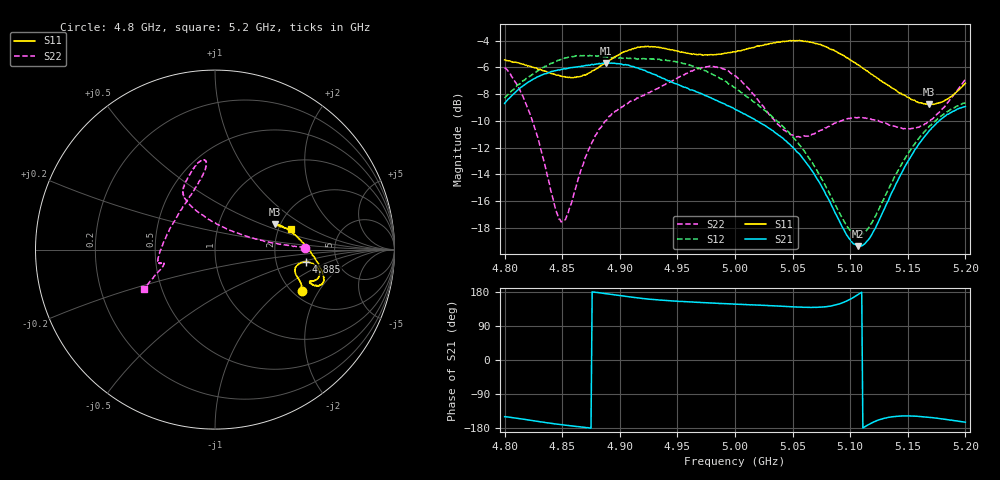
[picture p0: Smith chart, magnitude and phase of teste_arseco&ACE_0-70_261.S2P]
! Network Analyzer HP8722D
! Hewlett-Packard
! Data name: Linha & Wilkinson
! Saver's name: Rodrigo Anjos
! Comments: Teste da utilização de aquisição
! continua pelo VNA HP8722D
! Time and date: 8/5/2025 14:56
!  Frequency  S11  S21  S12  S22
# HZ  S  MA R 50
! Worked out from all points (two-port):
!   401 points, 4.8 GHz to 5.2 GHz, reference 50 ohm
!   highest |S21| = -5.67 dB at 4.888 GHz (marker M1); lowest = -19.4 dB at 5.107 GHz (marker M2)
!   |S21| within 3 dB of the highest: 4.8 GHz to 4.989 GHz (188.4 MHz wide, 3.85 % of centre)
!   lowest |S11| = -8.8 dB at 5.168 GHz (marker M3), VSWR 2.15, Z = 94.1 + j30.5 ohm
!   |S11| at or under -10 dB: nowhere
!   |S22| runs from -17.6 to -5.9 dB; largest |S21 - S12| = 1.1
!   S11 on the Smith chart (normalised r, x): 4.8 GHz: 2.23, -1.43; 4.885 GHz: 2.99, -0.55; 5.2 GHz: 2.34, +0.65
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4.8e9  0.5339 -25.3  0.3673 -149.5  0.3846 9.9  0.4998 1.1
4.812e9  0.5208 -22.3  0.4143 -154.3  0.4314 8.1  0.4213 2.7
4.822e9  0.5059 -20.4  0.4442 -158.7  0.4641 6.8  0.3359 6.0
4.848e9  0.4653 -16.3  0.4895 -170.2  0.5347 2.6  0.1354 56.0
4.854e9  0.461 -14.5  0.4956 -172.6  0.5442 1.7  0.1395 81.4
4.867e9  0.4651 -11.0  0.5065 -177.1  0.553 -0.2  0.2112 111.3
4.885e9  0.5126 -7.6  0.5189 176.3  0.5485 -1.5  0.3048 119.8
4.888e9  0.5224 -7.8  0.5208 175.2  0.5487 -1.6  0.3168 120.1
4.913e9  0.5914 -11.2  0.5011 164.8  0.5426 -1.1  0.3786 117.9
4.934e9  0.5944 -15.7  0.4628 158.2  0.5377 -1.7  0.4205 111.7
4.976e9  0.5569 -18.6  0.3907 151.0  0.4816 -5.6  0.5036 98.3
5e9  0.5716 -19.7  0.3495 147.5  0.4208 -5.8  0.4658 96.2
5.044e9  0.6264 -17.8  0.2665 141.2  0.2938 2.6  0.2904 131.8
5.067e9  0.6209 -13.4  0.2054 138.9  0.2206 9.3  0.2816 164.6
5.097e9  0.5435 -3.3  0.1181 155.8  0.1282 36.5  0.321 -171.0
5.107e9  0.5115 1.6  0.1074 173.2  0.1178 55.7  0.3255 -167.9
5.117e9  0.4774 6.8  0.1153 -168.6  0.1277 75.6  0.3213 -166.3
5.134e9  0.4269 14.7  0.1627 -150.9  0.1782 94.7  0.3045 -165.8
5.151e9  0.3857 20.9  0.2261 -147.7  0.2415 100.7  0.2951 -164.6
5.168e9  0.3642 22.7  0.288 -151.2  0.2993 102.0  0.314 -161.2
5.183e9  0.3784 20.4  0.33 -156.8  0.339 102.0  0.3622 -156.9
5.2e9  0.4369 14.9  0.3574 -164.1  0.3696 102.3  0.451 -150.8
